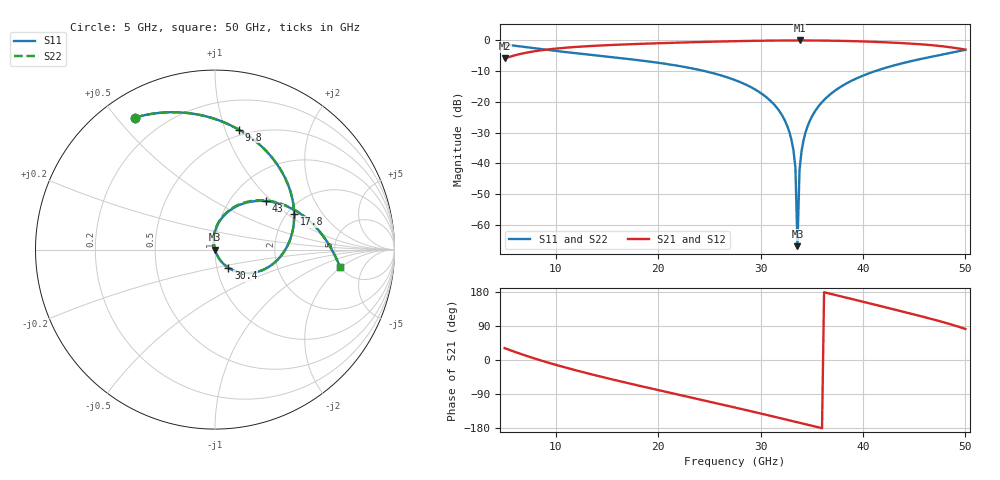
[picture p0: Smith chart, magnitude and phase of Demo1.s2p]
! Sonnet Data File
! From: em Version : 14.52
! From Project: Demo1
! Data is De-embedded
! Data File Written: 08/02/2018 00:29:28
!< HDATE 8/2/2018 0:26:57
!< MDATE 8/2/2018 0:26:57
# GHZ S MA R 50.00000
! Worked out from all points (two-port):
!   226 points, 5 GHz to 50 GHz, reference 50 ohm
!   highest |S21| = 0.00 dB at 33.8 GHz (marker M1); lowest = -5.9 dB at 5 GHz (marker M2)
!   |S21| within 3 dB of the highest: 9.033 GHz to end of sweep
!   lowest |S11| = -66.9 dB at 33.6 GHz (marker M3), VSWR 1.00, Z = 50 - j0.0434 ohm
!   |S11| at or under -10 dB: 24.58 GHz to 41.17 GHz (16.58 GHz wide, 50.4 % of centre)
!   |S22| runs from -66.9 to -1.3 dB; largest |S21 - S12| = 0
!   S11 on the Smith chart (normalised r, x): 5 GHz: 0.10, +0.56; 9.8 GHz: 0.45, +1.12; 17.8 GHz: 2.18, +1.13; 30.4 GHz: 1.14, -0.23; 43 GHz: 1.44, +0.92; 50 GHz: 4.97, -1.97
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5  0.8608 121.3  0.509 31.3  0.509 31.3  0.8608 121.3
!< P1 F=5.0 Eeff=(1.00008652 0.0) Z0=(58.6624352 0.0) R=0.0 C=0.01075684
!< P2 F=5.0 Eeff=(1.00008652 0.0) Z0=(58.6624352 0.0) R=0.0 C=0.01075684
9.8  0.6816 78.8  0.7317 -11.2  0.7317 -11.2  0.6816 78.8
12.6  0.6033 58.3  0.7974 -31.7  0.7974 -31.7  0.6034 58.3
17.8  0.4836 24.2  0.8754 -65.8  0.8754 -65.8  0.4836 24.2
20  0.4336 10.6  0.9012 -79.4  0.9012 -79.4  0.4336 10.6
23.8  0.338 -12.7  0.9411 -102.7  0.9411 -102.7  0.3381 -12.6
27.6  0.2236 -36.1  0.9746 -126.1  0.9746 -126.1  0.2238 -36.0
30.4  0.1254 -53.7  0.992 -143.7  0.992 -143.7  0.1256 -53.5
32  0.0644 -63.9  0.9979 -153.9  0.9979 -153.9  0.06452 -63.7
33  0.02473 -70.3  0.9997 -160.3  0.9997 -160.3  0.02478 -70.1
33.4  0.008579 -72.9  1 -162.9  1 -162.9  0.008596 -72.7
33.6  0.0004505 -74.2  1 -164.2  1 -164.2  0.0004505 -74.2
33.8  0.007716 104.6  1 -165.5  1 -165.5  0.007767 105.4
34  0.01591 103.3  1 -166.8  1 -166.8  0.01602 104.0
34.2  0.02414 102.0  0.9999 -168.1  0.9999 -168.1  0.0243 102.7
35  0.05732 96.8  0.9988 -173.3  0.9988 -173.3  0.05771 97.5
36.2  0.1077 88.9  0.9949 178.8  0.9949 178.8  0.1084 89.6
37.8  0.1753 78.3  0.9854 168.3  0.9854 168.3  0.1766 79.1
42.6  0.3751 46.3  0.9272 136.4  0.9272 136.4  0.3769 46.9
43  0.3915 43.7  0.9203 133.8  0.9203 133.8  0.3931 44.2
46.6  0.5394 18.9  0.8421 108.9  0.8421 108.9  0.5394 18.9
50  0.7049 -8.1  0.7093 81.9  0.7093 81.9  0.7049 -8.1
